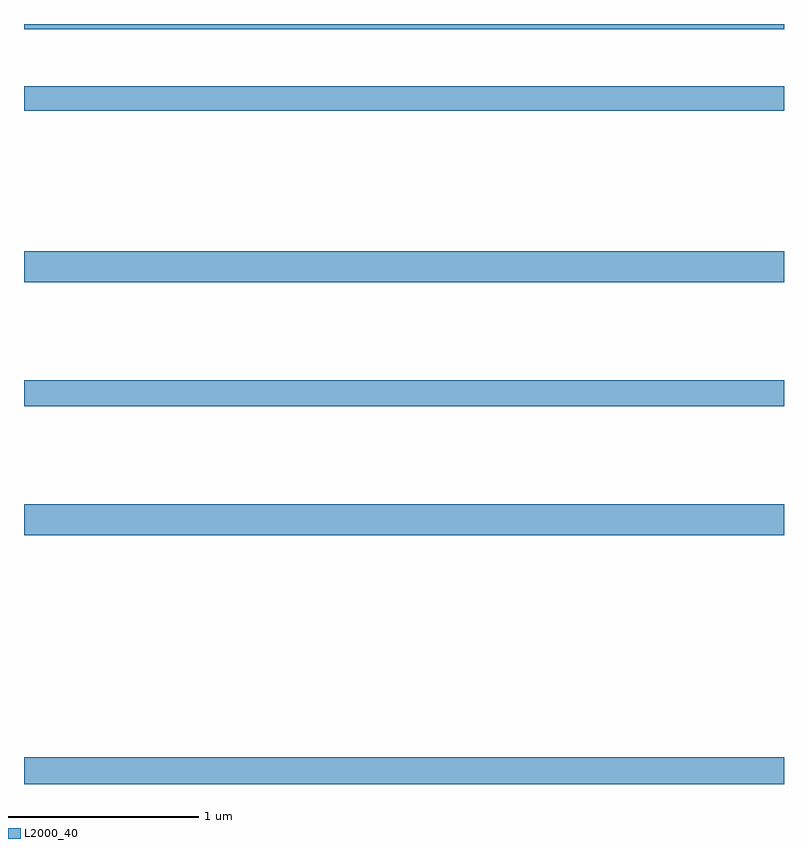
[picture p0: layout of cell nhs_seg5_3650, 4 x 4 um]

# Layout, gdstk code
import gdstk
lib = gdstk.Library(unit=1e-6, precision=1e-09)
def R(c, l, rs):  # rectangles x0, y0, x1, y1
    for r in rs: c.add(gdstk.rectangle(r[:2], r[2:], *l))
L2000_40 = (2000, 40)

nhs_seg5_3650 = lib.new_cell('nhs_seg5_3650')
R(nhs_seg5_3650, L2000_40, [(327,840.799,331,840.94), (327,842.108,331,842.272), (327,842.788,331,842.924), (327,843.44,331,843.604), (327,844.342,331,844.471), (327,844.772,331,844.799)])

lib.write_gds('nhs_seg5_3650.gds')
